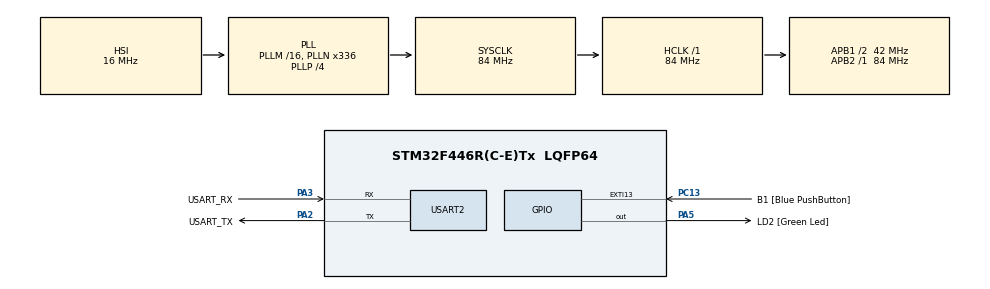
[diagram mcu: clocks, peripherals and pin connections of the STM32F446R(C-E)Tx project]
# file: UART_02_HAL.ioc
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Mcu.Family=STM32F4
Mcu.Name=STM32F446R(C-E)Tx
Mcu.Package=LQFP64
NVIC.PriorityGroup=NVIC_PRIORITYGROUP_0
PA13.GPIO_Label=TMS
PA13.Mode=Serial_Wire
PA13.Signal=SYS_JTMS-SWDIO
PA14.GPIO_Label=TCK
PA14.Mode=Serial_Wire
PA14.Signal=SYS_JTCK-SWCLK
PA2.GPIO_Label=USART_TX
PA2.Mode=Asynchronous
PA2.Signal=USART2_TX
PA3.GPIO_Label=USART_RX
PA3.Mode=Asynchronous
PA3.Signal=USART2_RX
PA5.GPIO_Label=LD2 [Green Led]
PA5.Signal=GPIO_Output
PB3.GPIO_Label=SWO
PB3.Signal=SYS_JTDO-SWO
PC13.GPIO_Label=B1 [Blue PushButton]
PC13.GPIO_ModeDefaultEXTI=GPIO_MODE_IT_FALLING
PC13.Signal=GPXTI13
PC14-OSC32_IN.Mode=LSE-External-Oscillator
PC14-OSC32_IN.Signal=RCC_OSC32_IN
PC15-OSC32_OUT.Mode=LSE-External-Oscillator
PC15-OSC32_OUT.Signal=RCC_OSC32_OUT
PH0-OSC_IN.Mode=HSE-External-Oscillator
PH0-OSC_IN.Signal=RCC_OSC_IN
PH1-OSC_OUT.Mode=HSE-External-Oscillator
PH1-OSC_OUT.Signal=RCC_OSC_OUT
ProjectManager.HeapSize=0x200
ProjectManager.StackSize=0x400
ProjectManager.TargetToolchain=STM32CubeIDE
RCC.48MHZClocksFreq_Value=84000000
RCC.AHBFreq_Value=84000000
RCC.APB1CLKDivider=RCC_HCLK_DIV2
RCC.APB1Freq_Value=42000000
RCC.APB1TimFreq_Value=84000000
RCC.APB2Freq_Value=84000000
RCC.APB2TimFreq_Value=84000000
RCC.CortexFreq_Value=84000000
RCC.FLatency-AdvancedSettings=FLASH_LATENCY_2
RCC.HCLKFreq_Value=84000000
RCC.HSE_VALUE=8000000
RCC.HSI_VALUE=16000000
RCC.PLLN=336
RCC.PLLP=RCC_PLLP_DIV4
RCC.SYSCLKFreq_VALUE=84000000
RCC.SYSCLKSource=RCC_SYSCLKSOURCE_PLLCLK
RCC.USBFreq_Value=168000000
RCC.VCOOutputFreq_Value=336000000
USART2.VirtualMode=VM_ASYNC
board=NUCLEO-F446RE

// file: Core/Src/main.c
/* USER CODE BEGIN Header */
/**
  ******************************************************************************
  * @file           : main.c
  * @brief          : Main program body
  ******************************************************************************
  * @attention
  *
  * Copyright (c) 2022 STMicroelectronics.
  * All rights reserved.
  *
  * This software is licensed under terms that can be found in the LICENSE file
  * in the root directory of this software component.
  * If no LICENSE file comes with this software, it is provided AS-IS.
  *
  ******************************************************************************
  */
/* USER CODE END Header */
#include "main.h"

/* USER CODE BEGIN PD */
//#define RAIZ 1

#ifndef RAIZ
#define NUTELLA 1
#endif

/* USER CODE END PD */

UART_HandleTypeDef huart2;

/* USER CODE BEGIN PV */
char TX, RX;
char mensagem[10];
/* USER CODE END PV */

void SystemClock_Config(void);
static void MX_GPIO_Init(void);
static void MX_USART2_UART_Init(void);

int main(void)
{

  /* MCU Configuration--------------------------------------------------------*/

  /* Reset of all peripherals, Initializes the Flash interface and the Systick. */
  HAL_Init();

  /* Configure the system clock */
  SystemClock_Config();

  /* Initialize all configured peripherals */
  MX_GPIO_Init();
  MX_USART2_UART_Init();

  /* Infinite loop */
  while (1)
  {

    /* USER CODE BEGIN 3 */

	#ifdef RAIZ
	//TRANSMISSÃO...
	//Se o registrador TDR está vazio
	if(USART2->SR & USART_SR_TXE)
	{
		USART2->DR = TX;
	}
	//RECEPÇÃO...
	//Se o registrador RTR não está vazio
	if(USART2->SR & USART_SR_RXNE)
	{
		RX = USART2->DR;
		TX = RX + 1;
	}
	#endif

	#ifdef NUTELLA
	//TRANSMISSÃO...
	if(__HAL_UART_GET_FLAG(&huart2, UART_FLAG_TXE))
	{
		HAL_UART_Transmit(&huart2, &TX, 1, 10);
	}

	//RECEPÇÃO...
	if(__HAL_UART_GET_FLAG(&huart2, UART_FLAG_RXNE))
	{
		HAL_UART_Receive(&huart2, &RX, 1, 10);
		TX = RX + 1;
	}
	#endif

//TESTE mensagem
//	if(__HAL_UART_GET_FLAG(&huart2, UART_FLAG_RXNE))
//	{
//		if(HAL_UART_Receive(&huart2, mensagem, 5, 2000) == HAL_OK)
//		{
//			HAL_UART_Transmit(&huart2, "RX = ", 5, 10);
//			HAL_UART_Transmit(&huart2, mensagem, 5, 10);
//			HAL_UART_Transmit(&huart2, "\r\n", 2, 10);
//		}
//		else
//		{
//			HAL_UART_Transmit(&huart2, "RX = TIMEOUT\r\n", 14, 10);
//		}
//	}
  }
  /* USER CODE END 3 */
}

void SystemClock_Config(void)
{
  RCC_OscInitTypeDef RCC_OscInitStruct = {0};
  RCC_ClkInitTypeDef RCC_ClkInitStruct = {0};

  /** Configure the main internal regulator output voltage
  */
  __HAL_RCC_PWR_CLK_ENABLE();
  __HAL_PWR_VOLTAGESCALING_CONFIG(PWR_REGULATOR_VOLTAGE_SCALE3);

  /** Initializes the RCC Oscillators according to the specified parameters
  * in the RCC_OscInitTypeDef structure.
  */
  RCC_OscInitStruct.OscillatorType = RCC_OSCILLATORTYPE_HSI;
  RCC_OscInitStruct.HSIState = RCC_HSI_ON;
  RCC_OscInitStruct.HSICalibrationValue = RCC_HSICALIBRATION_DEFAULT;
  RCC_OscInitStruct.PLL.PLLState = RCC_PLL_ON;
  RCC_OscInitStruct.PLL.PLLSource = RCC_PLLSOURCE_HSI;
  RCC_OscInitStruct.PLL.PLLM = 16;
  RCC_OscInitStruct.PLL.PLLN = 336;
  RCC_OscInitStruct.PLL.PLLP = RCC_PLLP_DIV4;
  RCC_OscInitStruct.PLL.PLLQ = 2;
  RCC_OscInitStruct.PLL.PLLR = 2;
  if (HAL_RCC_OscConfig(&RCC_OscInitStruct) != HAL_OK)
  {
    Error_Handler();
  }

  /** Initializes the CPU, AHB and APB buses clocks
  */
  RCC_ClkInitStruct.ClockType = RCC_CLOCKTYPE_HCLK|RCC_CLOCKTYPE_SYSCLK
                              |RCC_CLOCKTYPE_PCLK1|RCC_CLOCKTYPE_PCLK2;
  RCC_ClkInitStruct.SYSCLKSource = RCC_SYSCLKSOURCE_PLLCLK;
  RCC_ClkInitStruct.AHBCLKDivider = RCC_SYSCLK_DIV1;
  RCC_ClkInitStruct.APB1CLKDivider = RCC_HCLK_DIV2;
  RCC_ClkInitStruct.APB2CLKDivider = RCC_HCLK_DIV1;

  if (HAL_RCC_ClockConfig(&RCC_ClkInitStruct, FLASH_LATENCY_2) != HAL_OK)
  {
    Error_Handler();
  }
}

static void MX_USART2_UART_Init(void)
{

  huart2.Instance = USART2;
  huart2.Init.BaudRate = 115200;
  huart2.Init.WordLength = UART_WORDLENGTH_8B;
  huart2.Init.StopBits = UART_STOPBITS_1;
  huart2.Init.Parity = UART_PARITY_NONE;
  huart2.Init.Mode = UART_MODE_TX_RX;
  huart2.Init.HwFlowCtl = UART_HWCONTROL_NONE;
  huart2.Init.OverSampling = UART_OVERSAMPLING_16;
  if (HAL_UART_Init(&huart2) != HAL_OK)
  {
    Error_Handler();
  }

}

static void MX_GPIO_Init(void)
{
  GPIO_InitTypeDef GPIO_InitStruct = {0};

  /* GPIO Ports Clock Enable */
  __HAL_RCC_GPIOC_CLK_ENABLE();
  __HAL_RCC_GPIOH_CLK_ENABLE();
  __HAL_RCC_GPIOA_CLK_ENABLE();
  __HAL_RCC_GPIOB_CLK_ENABLE();

  /*Configure GPIO pin Output Level */
  HAL_GPIO_WritePin(LD2_GPIO_Port, LD2_Pin, GPIO_PIN_RESET);

  /*Configure GPIO pin : B1_Pin */
  GPIO_InitStruct.Pin = B1_Pin;
  GPIO_InitStruct.Mode = GPIO_MODE_IT_FALLING;
  GPIO_InitStruct.Pull = GPIO_NOPULL;
  HAL_GPIO_Init(B1_GPIO_Port, &GPIO_InitStruct);

  /*Configure GPIO pin : LD2_Pin */
  GPIO_InitStruct.Pin = LD2_Pin;
  GPIO_InitStruct.Mode = GPIO_MODE_OUTPUT_PP;
  GPIO_InitStruct.Pull = GPIO_NOPULL;
  GPIO_InitStruct.Speed = GPIO_SPEED_FREQ_LOW;
  HAL_GPIO_Init(LD2_GPIO_Port, &GPIO_InitStruct);

}

void Error_Handler(void)
{
  __disable_irq();
  while (1)
  {
  }
}
